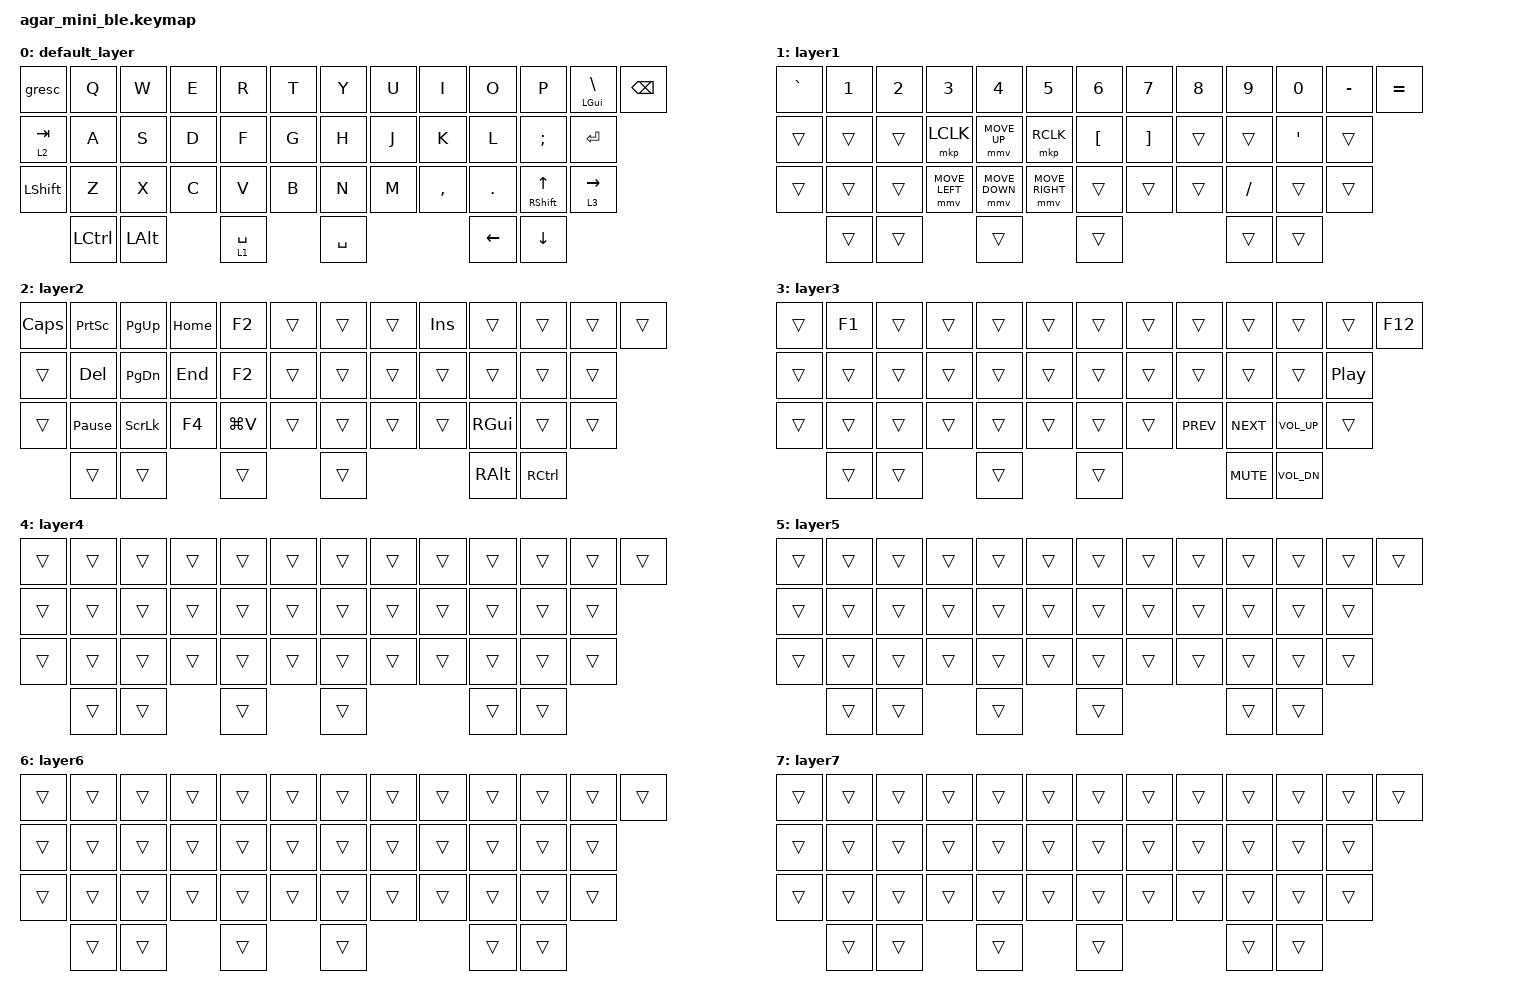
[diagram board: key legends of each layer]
/*
 * Copyright (c) 2021 The ZMK Contributors
 *
 * SPDX-License-Identifier: MIT
 */

#include "./boards/shields/klink_kbd/common.keymap"
#include <behaviors.dtsi>
#include <dt-bindings/zmk/keys.h>
#include <dt-bindings/zmk/pointing.h>

/ {
    behaviors {
        lm: lm {
    compatible = "zmk,behavior-macro-two-param";
    wait-ms = <0>;
    tap-ms = <0>;
    #binding-cells = <2>;

    bindings =
        <&macro_param_1to1>
      , <&macro_press &mo MACRO_PLACEHOLDER>

      , <&macro_param_2to1>
      , <&macro_press &kp MACRO_PLACEHOLDER>

      , <&macro_pause_for_release>

      , <&macro_param_2to1>
      , <&macro_release &kp MACRO_PLACEHOLDER>

      , <&macro_param_1to1>
      , <&macro_release &mo MACRO_PLACEHOLDER>;};
    }
    keymap {
        compatible = "zmk,keymap";

        default_layer {
            bindings = <
&gresc     &kp Q      &kp W     &kp E  &kp R        &kp T  &kp Y      &kp U  &kp I      &kp O           &kp P                &mt LGUI BACKSLASH  &kp BSPC
&lt 2 TAB  &kp A      &kp S     &kp D  &kp F        &kp G  &kp H      &kp J  &kp K      &kp L           &kp SEMI             &kp RET
&kp LSHFT  &kp Z      &kp X     &kp C  &kp V        &kp B  &kp N      &kp M  &kp COMMA  &kp DOT         &mt RSHIFT UP_ARROW  &lt 3 RIGHT_ARROW
           &kp LCTRL  &kp LALT         &lt 1 SPACE         &kp SPACE                    &kp LEFT_ARROW  &kp DOWN_ARROW
            >;
        };

        layer1 {
            bindings = <
&kp GRAVE  &kp N1  &kp N2  &kp N3          &kp N4          &kp N5           &kp N6            &kp N7             &kp N8  &kp N9     &kp N0            &kp MINUS  &kp EQUAL
&trans     &trans  &trans  &mkp LCLK       &mmv MOVE_UP    &mkp RCLK        &kp LEFT_BRACKET  &kp RIGHT_BRACKET  &trans  &trans     &kp SINGLE_QUOTE  &trans
&trans     &trans  &trans  &mmv MOVE_LEFT  &mmv MOVE_DOWN  &mmv MOVE_RIGHT  &trans            &trans             &trans  &kp SLASH  &trans            &trans
           &trans  &trans                  &trans                           &trans                                       &trans     &trans
            >;
        };

        layer2 {
            bindings = <
&kp CAPSLOCK  &kp PRINTSCREEN  &kp PAGE_UP     &kp HOME  &kp F2     &trans  &trans  &trans  &kp INSERT  &trans    &trans     &trans  &trans
&trans        &kp DELETE       &kp PAGE_DOWN   &kp END   &kp F2     &trans  &trans  &trans  &trans      &trans    &trans     &trans
&trans        &kp PAUSE_BREAK  &kp SCROLLLOCK  &kp F4    &kp LG(V)  &trans  &trans  &trans  &trans      &kp RGUI  &trans     &trans
              &trans           &trans                    &trans             &trans                      &kp RALT  &kp RCTRL
            >;
        };

        layer3 {
            bindings = <
&trans  &kp F1  &trans  &trans  &trans  &trans  &trans  &trans  &trans      &trans      &trans        &trans            &kp F12
&trans  &trans  &trans  &trans  &trans  &trans  &trans  &trans  &trans      &trans      &trans        &kp C_PLAY_PAUSE
&trans  &trans  &trans  &trans  &trans  &trans  &trans  &trans  &kp C_PREV  &kp C_NEXT  &kp C_VOL_UP  &trans
        &trans  &trans          &trans          &trans                      &kp C_MUTE  &kp C_VOL_DN
            >;
        };

        layer4 {
            bindings = <
&trans  &trans  &trans  &trans  &trans  &trans  &trans  &trans  &trans  &trans  &trans  &trans  &trans
&trans  &trans  &trans  &trans  &trans  &trans  &trans  &trans  &trans  &trans  &trans  &trans
&trans  &trans  &trans  &trans  &trans  &trans  &trans  &trans  &trans  &trans  &trans  &trans
        &trans  &trans          &trans          &trans                  &trans  &trans
            >;
        };

        layer5 {
            bindings = <
&trans  &trans  &trans  &trans  &trans  &trans  &trans  &trans  &trans  &trans  &trans  &trans  &trans
&trans  &trans  &trans  &trans  &trans  &trans  &trans  &trans  &trans  &trans  &trans  &trans
&trans  &trans  &trans  &trans  &trans  &trans  &trans  &trans  &trans  &trans  &trans  &trans
        &trans  &trans          &trans          &trans                  &trans  &trans
            >;
        };

        layer6 {
            bindings = <
&trans  &trans  &trans  &trans  &trans  &trans  &trans  &trans  &trans  &trans  &trans  &trans  &trans
&trans  &trans  &trans  &trans  &trans  &trans  &trans  &trans  &trans  &trans  &trans  &trans
&trans  &trans  &trans  &trans  &trans  &trans  &trans  &trans  &trans  &trans  &trans  &trans
        &trans  &trans          &trans          &trans                  &trans  &trans
            >;
        };

        layer7 {
            bindings = <
&trans  &trans  &trans  &trans  &trans  &trans  &trans  &trans  &trans  &trans  &trans  &trans  &trans
&trans  &trans  &trans  &trans  &trans  &trans  &trans  &trans  &trans  &trans  &trans  &trans
&trans  &trans  &trans  &trans  &trans  &trans  &trans  &trans  &trans  &trans  &trans  &trans
        &trans  &trans          &trans          &trans                  &trans  &trans
            >;
        };
    };
};
